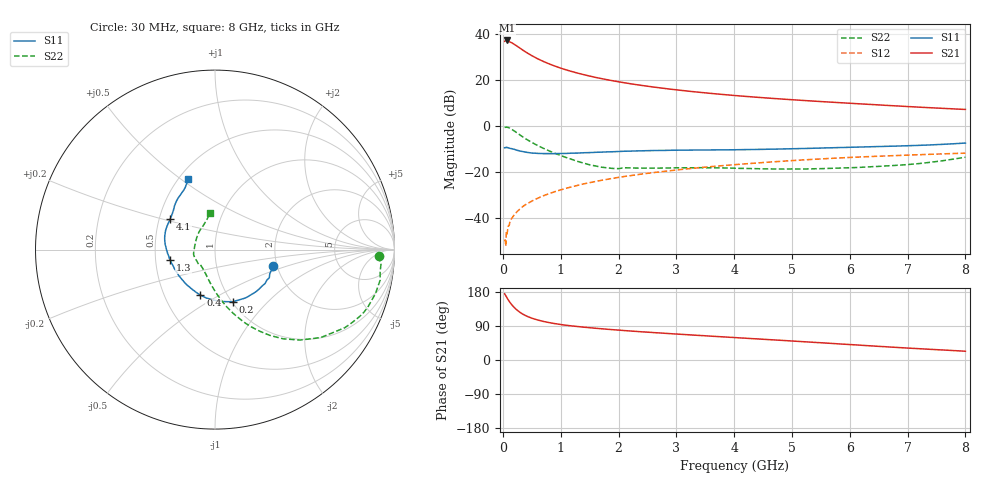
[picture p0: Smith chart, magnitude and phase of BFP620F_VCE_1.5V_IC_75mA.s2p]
! Infineon Technologies  Discrete & RF Semiconductors
! BFP620F
! VCE =  1.5 V,  IC =  75 mA
! Common Emitter S-Parameters:  Dec 2014
# GHz  S  MA  R  50
!  f  S11  S21  S12  S22
! GHz  MAG  ANG  MAG  ANG  MAG  ANG  MAG  ANG
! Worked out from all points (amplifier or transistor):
!   95 points, 30 MHz to 8 GHz, reference 50 ohm
!   highest |S21| = 37.1 dB at 70 MHz (marker M1)
!   |S21| within 3 dB of that: start of sweep to 275.6 MHz
!   unconditionally stable (mu >= 1): 1.567 GHz to end of sweep
!   at 300 MHz: K = 0.58, MSG = 34.9 dB, |S12| = -36.1 dB
!   at 3.3 GHz: K = 1.04, MAG = 15.5 dB, |S12| = -18.5 dB
!   at 8 GHz: K = 1.05, MAG = 8.1 dB, |S12| = -11.9 dB
!   S11 on the Smith chart (normalised r, x): 30 MHz: 1.89, -0.38; 200 MHz: 1.01, -0.65; 400 MHz: 0.75, -0.41; 1.3 GHz: 0.60, -0.08; 4.1 GHz: 0.57, +0.21; 8 GHz: 0.56, +0.53
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0.03  0.3329 -15.6  68.98 174.7  0.0031 118.1  0.9138 -2.2
0.05  0.3331 -23.6  71.3 169.6  0.0024 93.1  0.9285 -7.8
0.07  0.3354 -30.6  71.95 164.4  0.0044 85.0  0.9306 -12.9
0.1  0.3295 -42.1  69.21 157.0  0.0067 81.6  0.9108 -20.3
0.14  0.3198 -55.6  65.15 148.4  0.0089 78.3  0.8572 -29.2
0.2  0.3069 -71.3  59.02 137.9  0.0117 73.0  0.7668 -39.7
0.25  0.2923 -82.1  53.62 131.0  0.0137 73.1  0.6925 -46.7
0.3  0.2815 -91.6  48.51 125.3  0.0157 71.0  0.6259 -52.6
0.35  0.2738 -100.4  43.86 120.6  0.0177 72.0  0.5673 -57.4
0.4  0.2662 -107.7  40 116.6  0.0195 71.3  0.516 -61.5
0.5  0.2553 -119.7  33.62 110.4  0.023 71.4  0.4354 -68.3
0.6  0.2511 -129.7  28.83 105.6  0.0264 70.8  0.3724 -73.8
0.7  0.2482 -137.5  25.15 101.8  0.03 71.0  0.3238 -78.6
1  0.2498 -154.7  18 93.7  0.0403 70.9  0.2255 -90.9
1.3  0.2551 -166.5  13.93 88.2  0.0508 70.0  0.1667 -103.4
1.4  0.2591 -169.4  12.95 86.6  0.0544 69.7  0.1536 -107.6
1.9  0.2726 178.1  9.55 80.0  0.0718 67.6  0.1181 -131.6
2.7  0.2907 164.2  6.731 71.5  0.099 63.0  0.12 -154.5
4.1  0.3022 146.1  4.464 58.3  0.1455 53.7  0.1184 -174.5
5.4  0.3253 134.6  3.431 46.4  0.1871 44.2  0.1163 158.4
6.7  0.3588 123.1  2.754 34.2  0.2226 34.2  0.1354 128.8
8  0.4212 111.2  2.268 23.1  0.254 24.5  0.2072 97.5
